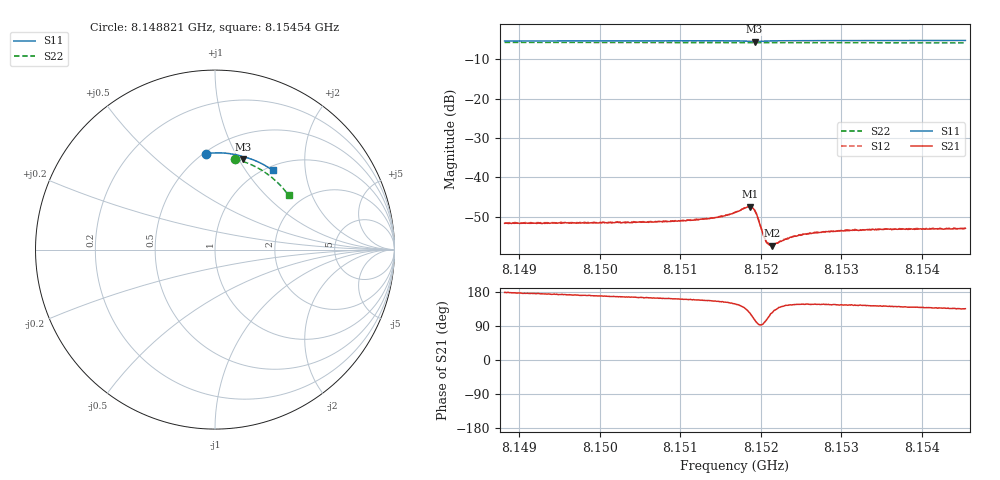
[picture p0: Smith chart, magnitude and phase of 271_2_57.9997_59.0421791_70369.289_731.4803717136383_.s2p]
#  HZ  S  RI  R  50.00
! Rohde & Schwarz Vector Network Analyzer
! Rohde-Schwarz,ZNB20-2Port,1311601062101988,3.16
! Created: UTC 3/21/2024, 1:02:23 AM
! freq[Hz]  re:S11  im:S11  re:S21  im:S21  re:S12  im:S12  re:S22  im:S22
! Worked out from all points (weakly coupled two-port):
!   401 points, 8.148821 GHz to 8.15454 GHz, reference 50 ohm
!   highest |S21| = -47.40 dB at 8.151866 GHz (marker M1); lowest = -57.3 dB at 8.152138 GHz (marker M2)
!   lowest |S11| = -5.5 dB at 8.151924 GHz (marker M3), VSWR 3.25, Z = 37.3 + j52.3 ohm
!   |S11| at or under -10 dB: nowhere
!   |S22| runs from -5.9 to -5.7 dB; largest |S21 - S12| = 0.00012
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8.1488208e9  -0.0528 0.5351  -0.00262 7.71e-05  -0.00263 0.000134  0.1117 0.5037
8.1497788e9  0.0141 0.5392  -0.00262 0.000432  -0.00263 0.000473  0.1714 0.4856
8.1507368e9  0.0809 0.5349  -0.00265 0.000825  -0.00262 0.000857  0.2282 0.4604
8.1509941e9  0.0989 0.532  -0.00265 0.000929  -0.00266 0.000952  0.2429 0.4527
8.1513373e9  0.1231 0.5273  -0.00275 0.00118  -0.00277 0.00125  0.262 0.4413
8.1515518e9  0.1386 0.5232  -0.0029 0.00149  -0.00291 0.00153  0.2735 0.4338
8.1516805e9  0.1483 0.5194  -0.00305 0.00189  -0.00306 0.00196  0.2804 0.4292
8.1518234e9  0.1582 0.5114  -0.00287 0.00305  -0.00284 0.00313  0.288 0.4238
8.1518663e9  0.1592 0.5078  -0.00235 0.00356  -0.00232 0.00363  0.2902 0.422
8.1518949e9  0.1585 0.5059  -0.00175 0.00376  -0.00173 0.00384  0.2914 0.4209
8.1519235e9  0.1571 0.5051  -0.00106 0.00369  -0.000979 0.00373  0.2927 0.4199
8.1519664e9  0.1556 0.5067  -0.000278 0.00299  -0.000234 0.00304  0.2949 0.4184
8.1520379e9  0.159 0.5112  -0.000232 0.00178  -0.000184 0.00181  0.2987 0.416
8.1520665e9  0.1615 0.5123  -0.000384 0.0015  -0.000359 0.00149  0.3002 0.4148
8.1520951e9  0.1638 0.5128  -0.000549 0.00131  -0.00054 0.00137  0.3017 0.4138
8.152138e9  0.1676 0.513  -0.00076 0.00114  -0.000749 0.00112  0.3039 0.4122
8.1522667e9  0.1782 0.5116  -0.00123 0.000985  -0.00122 0.00102  0.3105 0.4071
8.1523954e9  0.1877 0.509  -0.00148 0.001  -0.00145 0.00102  0.317 0.402
8.1526384e9  0.2046 0.5034  -0.00165 0.00107  -0.00164 0.00111  0.3289 0.3918
8.1530531e9  0.2318 0.4924  -0.00173 0.0012  -0.00176 0.00125  0.3483 0.3739
8.1535964e9  0.2659 0.4759  -0.00174 0.00136  -0.00175 0.00138  0.3724 0.3491
8.1545401e9  0.3216 0.4418  -0.00161 0.0016  -0.00159 0.00159  0.4097 0.3022
